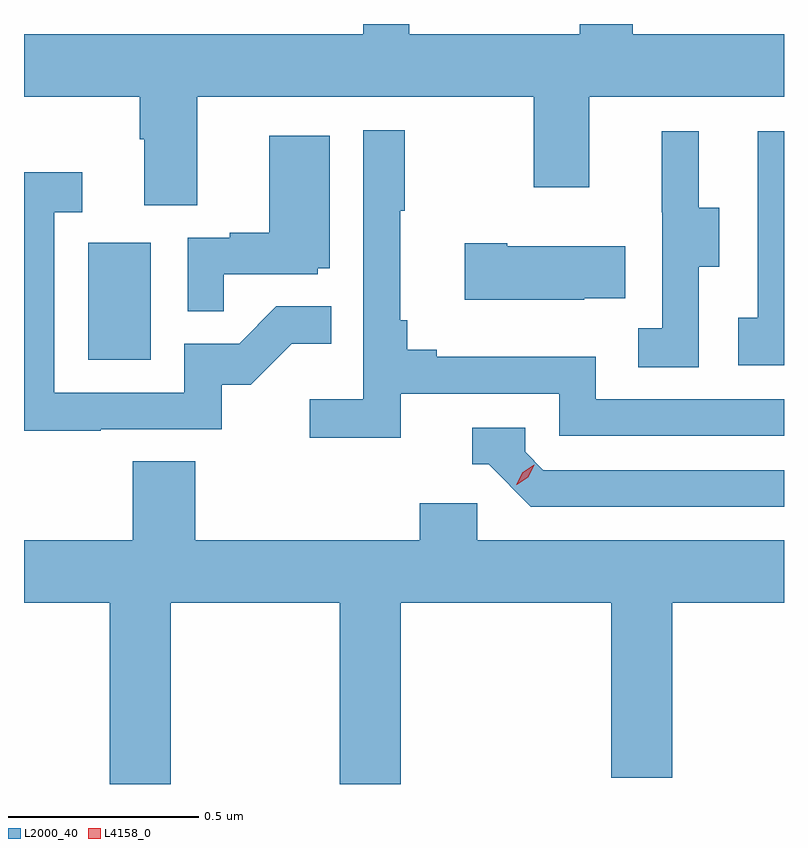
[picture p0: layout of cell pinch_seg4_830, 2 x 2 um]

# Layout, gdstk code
import gdstk
lib = gdstk.Library(unit=1e-6, precision=1e-09)
def R(c, l, rs):  # rectangles x0, y0, x1, y1
    for r in rs: c.add(gdstk.rectangle(r[:2], r[2:], *l))
def P(c, l, *ps):  # polygons
    for p in ps: c.add(gdstk.Polygon(p, *l))
L2000_40 = (2000, 40)
L4158_0 = (4158, 0)

pinch_seg4_830 = lib.new_cell('pinch_seg4_830')
R(pinch_seg4_830, L2000_40, [(818.888,797.46,819.052,797.767)])
P(pinch_seg4_830, L2000_40, [(819.175,798.152),(820.06,798.152),(820.06,797.913),(820.207,797.913),(820.207,798.152),(820.719,798.152),(820.719,798.316),(820.321,798.316),(820.321,798.343),(820.182,798.343),(820.182,798.316),(819.733,798.316),(819.733,798.343),(819.612,798.343),(819.612,798.316),(818.719,798.316),(818.719,798.152),(819.023,798.152),(819.023,798.04),(819.035,798.04),(819.035,797.866),(819.175,797.866)],
  [(819.71,797.37),(820.128,797.37),(820.128,797.259),(820.719,797.259),(820.719,797.355),(820.224,797.355),(820.224,797.467),(819.805,797.467),(819.805,797.486),(819.728,797.486),(819.728,797.563),(819.709,797.563),(819.709,797.851),(819.721,797.851),(819.721,798.064),(819.612,798.064),(819.612,797.356),(819.471,797.356),(819.471,797.254),(819.71,797.254)],
  [(820.719,798.061),(820.65,798.061),(820.65,797.57),(820.599,797.57),(820.599,797.445),(820.719,797.445)],
  [(820.494,797.704),(820.549,797.704),(820.549,797.859),(820.495,797.859),(820.495,798.061),(820.397,798.061),(820.397,797.847),(820.398,797.847),(820.398,797.543),(820.335,797.543),(820.335,797.44),(820.494,797.44)],
  [(819.245,797.685),(819.492,797.685),(819.492,797.7),(819.523,797.7),(819.523,798.049),(819.365,798.049),(819.365,797.794),(819.261,797.794),(819.261,797.781),(819.15,797.781),(819.15,797.587),(819.245,797.587)],
  [(818.921,797.277),(819.24,797.277),(819.24,797.394),(819.316,797.394),(819.423,797.501),(819.527,797.501),(819.527,797.6),(819.383,797.6),(819.285,797.502),(819.141,797.502),(819.141,797.373),(818.799,797.373),(818.799,797.847),(818.872,797.847),(818.872,797.953),(818.719,797.953),(818.719,797.272),(818.921,797.272)],
  [(820.193,797.621),(820.301,797.621),(820.301,797.758),(819.991,797.758),(819.991,797.766),(819.879,797.766),(819.879,797.618),(820.193,797.618)],
  [(820.719,797.169),(820.086,797.169),(820.038,797.217),(820.038,797.28),(819.899,797.28),(819.899,797.184),(819.942,797.184),(820.053,797.073),(820.719,797.073)],
  [(819.105,796.82),(819.55,796.82),(819.55,796.343),(819.71,796.343),(819.71,796.82),(820.265,796.82),(820.265,796.359),(820.425,796.359),(820.425,796.82),(820.719,796.82),(820.719,796.984),(819.912,796.984),(819.912,797.082),(819.761,797.082),(819.761,796.984),(819.17,796.984),(819.17,797.192),(819.005,797.192),(819.005,796.984),(818.719,796.984),(818.719,796.82),(818.945,796.82),(818.945,796.343),(819.105,796.343)])
P(pinch_seg4_830, L4158_0, [(820.015,797.13),(820.015,797.13),(820.031,797.163),(820.062,797.183),(820.062,797.183),(820.062,797.183),(820.046,797.15),(820.016,797.13)])

lib.write_gds('pinch_seg4_830.gds')
